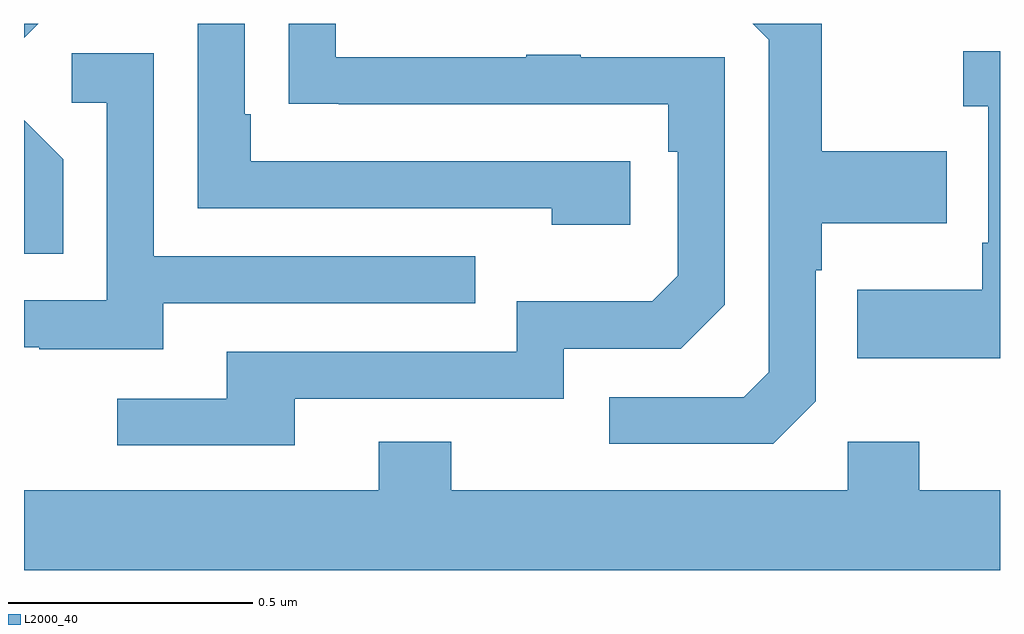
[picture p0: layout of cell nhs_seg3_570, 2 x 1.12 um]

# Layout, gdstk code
import gdstk
lib = gdstk.Library(unit=1e-6, precision=1e-09)
def P(c, l, *ps):  # polygons
    for p in ps: c.add(gdstk.Polygon(p, *l))
L2000_40 = (2000, 40)

nhs_seg3_570 = lib.new_cell('nhs_seg3_570')
P(nhs_seg3_570, L2000_40, [(119.622,670.626),(119.622,670.895),(119.635,670.895),(119.635,670.991),(119.891,670.991),(119.891,671.139),(119.635,671.139),(119.635,671.4),(119.493,671.4),(119.526,671.367),(119.526,670.686),(119.475,670.635),(119.199,670.635),(119.199,670.539),(119.535,670.539)],
  [(118.029,671.4),(118,671.4),(118,671.371)],
  [(119.242,671.118),(118.465,671.118),(118.465,671.215),(118.452,671.215),(118.452,671.4),(118.356,671.4),(118.356,671.022),(119.081,671.022),(119.081,670.988),(119.242,670.988)],
  [(118.555,670.632),(119.106,670.632),(119.106,670.734),(119.346,670.734),(119.436,670.824),(119.436,671.331),(119.141,671.331),(119.141,671.336),(119.029,671.336),(119.029,671.331),(118.639,671.331),(118.639,671.4),(118.543,671.4),(118.543,671.236),(118.645,671.236),(118.645,671.235),(119.32,671.235),(119.32,671.138),(119.34,671.138),(119.34,670.884),(119.287,670.831),(119.01,670.831),(119.01,670.728),(118.415,670.728),(118.415,670.632),(118.191,670.632),(118.191,670.536),(118.555,670.536)],
  [(120,671.344),(119.925,671.344),(119.925,671.231),(119.976,671.231),(119.976,670.951),(119.964,670.951),(119.964,670.855),(119.707,670.855),(119.707,670.715),(120,670.715)],
  [(118.285,670.827),(118.925,670.827),(118.925,670.923),(118.266,670.923),(118.266,671.339),(118.098,671.339),(118.098,671.238),(118.17,671.238),(118.17,670.833),(118,670.833),(118,670.737),(118.031,670.737),(118.031,670.733),(118.285,670.733)],
  [(118.08,671.122),(118,671.202),(118,670.929),(118.08,670.929)],
  [(120,670.444),(119.835,670.444),(119.835,670.543),(119.688,670.543),(119.688,670.444),(118.875,670.444),(118.875,670.543),(118.727,670.543),(118.727,670.444),(118,670.444),(118,670.28),(120,670.28)])

lib.write_gds('nhs_seg3_570.gds')
